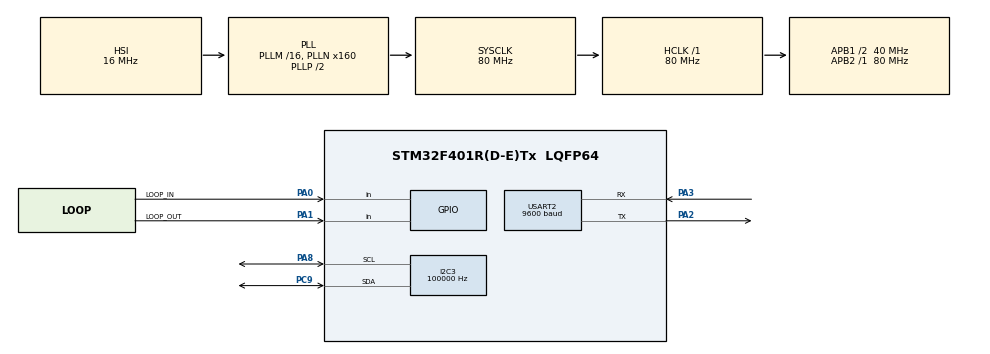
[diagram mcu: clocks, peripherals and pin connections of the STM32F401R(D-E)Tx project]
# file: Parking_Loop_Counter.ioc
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I2C3.ClockSpeed=100000
Mcu.Family=STM32F4
Mcu.Name=STM32F401R(D-E)Tx
Mcu.Package=LQFP64
NVIC.PriorityGroup=NVIC_PRIORITYGROUP_4
NVIC.USART2_IRQn=true\:0\:0\:false\:false\:true\:true\:true\:true
PA0-WKUP.GPIO_Label=LOOP_IN
PA0-WKUP.GPIO_PuPd=GPIO_PULLUP
PA0-WKUP.Signal=GPIO_Input
PA1.GPIO_Label=LOOP_OUT
PA1.GPIO_PuPd=GPIO_PULLUP
PA1.Signal=GPIO_Input
PA2.Mode=Asynchronous
PA2.Signal=USART2_TX
PA3.Mode=Asynchronous
PA3.Signal=USART2_RX
PA8.Mode=I2C
PA8.Signal=I2C3_SCL
PC9.GPIO_PuPd=GPIO_PULLUP
PC9.Mode=I2C
PC9.Signal=I2C3_SDA
ProjectManager.HeapSize=0x200
ProjectManager.StackSize=0x400
ProjectManager.TargetToolchain=STM32CubeIDE
RCC.48MHZClocksFreq_Value=40000000
RCC.AHBFreq_Value=80000000
RCC.APB1CLKDivider=RCC_HCLK_DIV2
RCC.APB1Freq_Value=40000000
RCC.APB1TimFreq_Value=80000000
RCC.APB2Freq_Value=80000000
RCC.APB2TimFreq_Value=80000000
RCC.CortexFreq_Value=80000000
RCC.HCLKFreq_Value=80000000
RCC.HSE_VALUE=25000000
RCC.HSI_VALUE=16000000
RCC.PLLN=160
RCC.SYSCLKFreq_VALUE=80000000
RCC.SYSCLKSource=RCC_SYSCLKSOURCE_PLLCLK
RCC.VCOOutputFreq_Value=160000000
USART2.BaudRate=9600
USART2.VirtualMode=VM_ASYNC
board=custom

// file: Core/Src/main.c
/* USER CODE BEGIN Header */
/**
  ******************************************************************************
  * @file           : main.c
  * @brief          : Parking loop counter
  *                   PA0 (pin 14) entry loop  -> car +1
  *                   PA1 (pin 15) exit loop   -> car -1
  *                   AT24 EEPROM on I2C3 (SDA PC9, SCL PA8) keeps the count
  *                   over power failure.
  *                   Display on USART2 (PA2 TX -> display RX, PA3 RX <- display TX)
  ******************************************************************************
  * @attention
  *
  * Copyright (c) 2025 STMicroelectronics.
  * All rights reserved.
  *
  * This software is licensed under terms that can be found in the LICENSE file
  * in the root directory of this software component.
  * If no LICENSE file comes with this software, it is provided AS-IS.
  *
  ******************************************************************************
  */
/* USER CODE END Header */
#include "main.h"

/* USER CODE BEGIN Includes */
#include <stdlib.h>
#include <string.h>
#include <stdio.h>
#include <ctype.h>
#include "at24_store.h"
/* USER CODE END Includes */

/* USER CODE BEGIN PTD */
typedef struct
{
    GPIO_TypeDef *port;
    uint16_t      pin;
    uint8_t       stable;    /* 1 = vehicle on loop (debounced) */
    uint8_t       last_raw;
    uint32_t      change_tick;
} LoopInput;
/* USER CODE END PTD */

/* USER CODE BEGIN PD */
#define LOOP_DEBOUNCE_MS     100   /* loop signal must be stable this long */
#define DISPLAY_BOOT_MS      5000  /* wait for display to power up */
#define DISPLAY_GAP_MS       300   /* gap between clear and value message */
#define DEFAULT_MAX_FULL     101   /* used only when EEPROM is blank */
#define MAX_FULL_LIMIT       999   /* display shows only 3 digits */
/* USER CODE END PD */

I2C_HandleTypeDef hi2c3;

UART_HandleTypeDef huart2;

/* USER CODE BEGIN PV */
ParkData park;                 /* car count + max full, mirrored in EEPROM */
char lcdtx[64];                /* display transmit buffer */
uint8_t RxData2[32];           /* UART receive buffer */
char RxCmd[33];                /* copy of last received command */
volatile uint8_t flag = 0;     /* set when new UART message received */

LoopInput loop_in  = { LOOP_IN_GPIO_Port,  LOOP_IN_Pin  };
LoopInput loop_out = { LOOP_OUT_GPIO_Port, LOOP_OUT_Pin };

uint8_t  disp_pending = 1;     /* refresh display once after boot */
uint8_t  disp_state = 0;       /* 0 = idle, 1 = clear sent, waiting gap */
uint32_t disp_tick = 0;
uint16_t disp_shown = 0xFFFF;  /* vacancy last sent to display (0xFFFF = none yet) */
/* USER CODE END PV */

void SystemClock_Config(void);
static void MX_GPIO_Init(void);
static void MX_I2C3_Init(void);
static void MX_USART2_UART_Init(void);
/* USER CODE BEGIN PFP */
static void I2C3_BusRecover(void);
/* USER CODE END PFP */

/* USER CODE BEGIN 0 */

/* After a power cut in the middle of an I2C transfer the AT24 can hold SDA
 * low. Clock SCL until it releases the bus, then send a STOP. */
static void I2C3_BusRecover(void)
{
    GPIO_InitTypeDef GPIO_InitStruct = {0};

    __HAL_RCC_GPIOA_CLK_ENABLE();
    __HAL_RCC_GPIOC_CLK_ENABLE();

    HAL_GPIO_WritePin(GPIOA, GPIO_PIN_8, GPIO_PIN_SET);   /* SCL */
    HAL_GPIO_WritePin(GPIOC, GPIO_PIN_9, GPIO_PIN_SET);   /* SDA */

    GPIO_InitStruct.Mode = GPIO_MODE_OUTPUT_OD;
    GPIO_InitStruct.Pull = GPIO_PULLUP;
    GPIO_InitStruct.Speed = GPIO_SPEED_FREQ_LOW;
    GPIO_InitStruct.Pin = GPIO_PIN_8;
    HAL_GPIO_Init(GPIOA, &GPIO_InitStruct);
    GPIO_InitStruct.Pin = GPIO_PIN_9;
    HAL_GPIO_Init(GPIOC, &GPIO_InitStruct);
    HAL_Delay(1);

    for (uint8_t i = 0; i < 9 && HAL_GPIO_ReadPin(GPIOC, GPIO_PIN_9) == GPIO_PIN_RESET; i++)
    {
        HAL_GPIO_WritePin(GPIOA, GPIO_PIN_8, GPIO_PIN_RESET);
        HAL_Delay(1);
        HAL_GPIO_WritePin(GPIOA, GPIO_PIN_8, GPIO_PIN_SET);
        HAL_Delay(1);
    }

    /* STOP condition */
    HAL_GPIO_WritePin(GPIOA, GPIO_PIN_8, GPIO_PIN_RESET);
    HAL_Delay(1);
    HAL_GPIO_WritePin(GPIOC, GPIO_PIN_9, GPIO_PIN_RESET);
    HAL_Delay(1);
    HAL_GPIO_WritePin(GPIOA, GPIO_PIN_8, GPIO_PIN_SET);
    HAL_Delay(1);
    HAL_GPIO_WritePin(GPIOC, GPIO_PIN_9, GPIO_PIN_SET);
    HAL_Delay(1);
}

/* Returns 1 once when a vehicle arrives on the loop (active low input) */
static uint8_t loop_triggered(LoopInput *in)
{
    uint8_t raw = (HAL_GPIO_ReadPin(in->port, in->pin) == GPIO_PIN_RESET);
    uint32_t now = HAL_GetTick();

    if (raw != in->last_raw)
    {
        in->last_raw = raw;
        in->change_tick = now;
        return 0;
    }
    if (raw != in->stable && (now - in->change_tick) >= LOOP_DEBOUNCE_MS)
    {
        in->stable = raw;
        return raw;
    }
    return 0;
}

/* Take the current pin level as the starting state, so a vehicle standing
 * on the loop while power comes back is not counted again. */
static void loop_init(LoopInput *in)
{
    in->last_raw = (HAL_GPIO_ReadPin(in->port, in->pin) == GPIO_PIN_RESET);
    in->stable = in->last_raw;
    in->change_tick = HAL_GetTick();
}

static uint16_t vacancy(void)
{
    return (park.car >= park.max_full) ? 0 : (uint16_t)(park.max_full - park.car);
}

static void save_and_show(void)
{
    if (park.car > park.max_full)
    {
        park.car = park.max_full;
    }
    AT24_Save(&hi2c3, &park);
    if (vacancy() != disp_shown)
    {
        disp_pending = 1;   // send to display only when vacancy really changed
    }
}

void check_inputs(void)
{
    if (loop_triggered(&loop_in))
    {
        if (park.car < park.max_full)
        {
            park.car++;
            save_and_show();
        }
    }

    if (loop_triggered(&loop_out))
    {
        if (park.car > 0)
        {
            park.car--;
            save_and_show();
        }
    }
}

/* Reads 4 digits followed by '|' */
static uint8_t parse4(const char *ptr, uint16_t *value)
{
    if (isdigit((uint8_t)ptr[0]) && isdigit((uint8_t)ptr[1]) &&
        isdigit((uint8_t)ptr[2]) && isdigit((uint8_t)ptr[3]) && ptr[4] == '|')
    {
        *value = (uint16_t)((ptr[0] - '0') * 1000 + (ptr[1] - '0') * 100 +
                            (ptr[2] - '0') * 10 + (ptr[3] - '0'));
        return 1;
    }
    return 0;
}

void process_uart_data(void)
{
    if (flag)   // only process if flag set
    {
        flag = 0; // clear after processing
        uint16_t value;

        // --- Case 1: |SET|=#0001|  -> set car count
        char *ptr = strstr(RxCmd, "|SET|=#");
        if (ptr != NULL)
        {
            if (parse4(ptr + 7, &value))
            {
                park.car = value;
                save_and_show();
            }
            return;
        }

        // --- Case 2: |SETFULL|=#0100|  -> set capacity
        ptr = strstr(RxCmd, "|SETFULL|=#");
        if (ptr != NULL)
        {
            if (parse4(ptr + 11, &value) && value > 0 && value <= MAX_FULL_LIMIT)
            {
                park.max_full = value;
                save_and_show();
            }
            return;
        }
    }
}

static void display_format(void)
{
    uint16_t avail = vacancy();

    if (avail == 0)
    {
        sprintf(lcdtx, "|C|1|4|1|33-0-#G000|");
    }
    else                   // always three digits: 1 -> 001, 25 -> 025
    {
        sprintf(lcdtx, "|C|1|4|1|33-0-#G%03u|", avail);
    }
}

/* Non-blocking display refresh: clear, wait DISPLAY_GAP_MS, send value.
 * Sends only once after power up and whenever the vacancy changes. */
void display_task(void)
{
    uint32_t now = HAL_GetTick();

    if (now < DISPLAY_BOOT_MS)
    {
        return;
    }

    if (disp_state == 0 && disp_pending)
    {
        disp_pending = 0;
        if (vacancy() == disp_shown)
        {
            return;   // value went back to what display already shows
        }
        sprintf(lcdtx, "|C|1|6|");
        HAL_UART_Transmit(&huart2, (uint8_t*)lcdtx, strlen(lcdtx), 3000);
        disp_tick = now;
        disp_state = 1;
    }
    else if (disp_state == 1 && (now - disp_tick) >= DISPLAY_GAP_MS)
    {
        display_format();
        HAL_UART_Transmit(&huart2, (uint8_t*)lcdtx, strlen(lcdtx), 3000);
        disp_shown = vacancy();
        disp_state = 0;
    }
}
/* USER CODE END 0 */

int main(void)
{

  /* MCU Configuration--------------------------------------------------------*/

  /* Reset of all peripherals, Initializes the Flash interface and the Systick. */
  HAL_Init();

  /* Configure the system clock */
  SystemClock_Config();

  /* USER CODE BEGIN SysInit */
  I2C3_BusRecover();
  /* USER CODE END SysInit */

  /* Initialize all configured peripherals */
  MX_GPIO_Init();
  MX_I2C3_Init();
  MX_USART2_UART_Init();
  /* USER CODE BEGIN 2 */
  HAL_Delay(10);   // let EEPROM settle after power up

  if (!AT24_Load(&hi2c3, &park))
  {
      // blank EEPROM: start with defaults and store them
      park.car = 0;
      park.max_full = DEFAULT_MAX_FULL;
      AT24_Save(&hi2c3, &park);
  }
  if (park.max_full == 0 || park.max_full > MAX_FULL_LIMIT)
  {
      park.max_full = DEFAULT_MAX_FULL;
      AT24_Save(&hi2c3, &park);
  }
  if (park.car > park.max_full)
  {
      park.car = park.max_full;
  }

  loop_init(&loop_in);
  loop_init(&loop_out);

  HAL_UARTEx_ReceiveToIdle_IT(&huart2, RxData2, sizeof(RxData2));
  /* USER CODE END 2 */

  /* Infinite loop */
  while (1)
  {

    /* USER CODE BEGIN 3 */
	  process_uart_data();
	  check_inputs();
	  display_task();
  }
  /* USER CODE END 3 */
}

void SystemClock_Config(void)
{
  RCC_OscInitTypeDef RCC_OscInitStruct = {0};
  RCC_ClkInitTypeDef RCC_ClkInitStruct = {0};

  /** Configure the main internal regulator output voltage
  */
  __HAL_RCC_PWR_CLK_ENABLE();
  __HAL_PWR_VOLTAGESCALING_CONFIG(PWR_REGULATOR_VOLTAGE_SCALE2);

  /** Initializes the RCC Oscillators according to the specified parameters
  * in the RCC_OscInitTypeDef structure.
  */
  RCC_OscInitStruct.OscillatorType = RCC_OSCILLATORTYPE_HSI;
  RCC_OscInitStruct.HSIState = RCC_HSI_ON;
  RCC_OscInitStruct.HSICalibrationValue = RCC_HSICALIBRATION_DEFAULT;
  RCC_OscInitStruct.PLL.PLLState = RCC_PLL_ON;
  RCC_OscInitStruct.PLL.PLLSource = RCC_PLLSOURCE_HSI;
  RCC_OscInitStruct.PLL.PLLM = 16;
  RCC_OscInitStruct.PLL.PLLN = 160;
  RCC_OscInitStruct.PLL.PLLP = RCC_PLLP_DIV2;
  RCC_OscInitStruct.PLL.PLLQ = 4;
  if (HAL_RCC_OscConfig(&RCC_OscInitStruct) != HAL_OK)
  {
    Error_Handler();
  }

  /** Initializes the CPU, AHB and APB buses clocks
  */
  RCC_ClkInitStruct.ClockType = RCC_CLOCKTYPE_HCLK|RCC_CLOCKTYPE_SYSCLK
                              |RCC_CLOCKTYPE_PCLK1|RCC_CLOCKTYPE_PCLK2;
  RCC_ClkInitStruct.SYSCLKSource = RCC_SYSCLKSOURCE_PLLCLK;
  RCC_ClkInitStruct.AHBCLKDivider = RCC_SYSCLK_DIV1;
  RCC_ClkInitStruct.APB1CLKDivider = RCC_HCLK_DIV2;
  RCC_ClkInitStruct.APB2CLKDivider = RCC_HCLK_DIV1;

  if (HAL_RCC_ClockConfig(&RCC_ClkInitStruct, FLASH_LATENCY_2) != HAL_OK)
  {
    Error_Handler();
  }
}

static void MX_I2C3_Init(void)
{

  hi2c3.Instance = I2C3;
  hi2c3.Init.ClockSpeed = 100000;
  hi2c3.Init.DutyCycle = I2C_DUTYCYCLE_2;
  hi2c3.Init.OwnAddress1 = 0;
  hi2c3.Init.AddressingMode = I2C_ADDRESSINGMODE_7BIT;
  hi2c3.Init.DualAddressMode = I2C_DUALADDRESS_DISABLE;
  hi2c3.Init.OwnAddress2 = 0;
  hi2c3.Init.GeneralCallMode = I2C_GENERALCALL_DISABLE;
  hi2c3.Init.NoStretchMode = I2C_NOSTRETCH_DISABLE;
  if (HAL_I2C_Init(&hi2c3) != HAL_OK)
  {
    Error_Handler();
  }

}

static void MX_USART2_UART_Init(void)
{

  huart2.Instance = USART2;
  huart2.Init.BaudRate = 9600;
  huart2.Init.WordLength = UART_WORDLENGTH_8B;
  huart2.Init.StopBits = UART_STOPBITS_1;
  huart2.Init.Parity = UART_PARITY_NONE;
  huart2.Init.Mode = UART_MODE_TX_RX;
  huart2.Init.HwFlowCtl = UART_HWCONTROL_NONE;
  huart2.Init.OverSampling = UART_OVERSAMPLING_16;
  if (HAL_UART_Init(&huart2) != HAL_OK)
  {
    Error_Handler();
  }

}

static void MX_GPIO_Init(void)
{
  GPIO_InitTypeDef GPIO_InitStruct = {0};

  /* GPIO Ports Clock Enable */
  __HAL_RCC_GPIOA_CLK_ENABLE();
  __HAL_RCC_GPIOC_CLK_ENABLE();

  /*Configure GPIO pins : LOOP_IN_Pin LOOP_OUT_Pin */
  GPIO_InitStruct.Pin = LOOP_IN_Pin|LOOP_OUT_Pin;
  GPIO_InitStruct.Mode = GPIO_MODE_INPUT;
  GPIO_InitStruct.Pull = GPIO_PULLUP;
  HAL_GPIO_Init(GPIOA, &GPIO_InitStruct);

}

/* USER CODE BEGIN 4 */
void HAL_UARTEx_RxEventCallback(UART_HandleTypeDef *huart, uint16_t Size)
{
    if (huart->Instance == USART2)
    {
        if (Size > sizeof(RxData2)) Size = sizeof(RxData2);
        memcpy(RxCmd, RxData2, Size);
        RxCmd[Size] = '\0';
        flag = 1;
        HAL_UARTEx_ReceiveToIdle_IT(&huart2, RxData2, sizeof(RxData2));
    }
}

void HAL_UART_ErrorCallback(UART_HandleTypeDef *huart)
{
    if (huart->Instance == USART2)
    {
        // noise / overrun on the line: restart reception
        HAL_UARTEx_ReceiveToIdle_IT(&huart2, RxData2, sizeof(RxData2));
    }
}
/* USER CODE END 4 */

void Error_Handler(void)
{
  __disable_irq();
  while (1)
  {
  }
}
